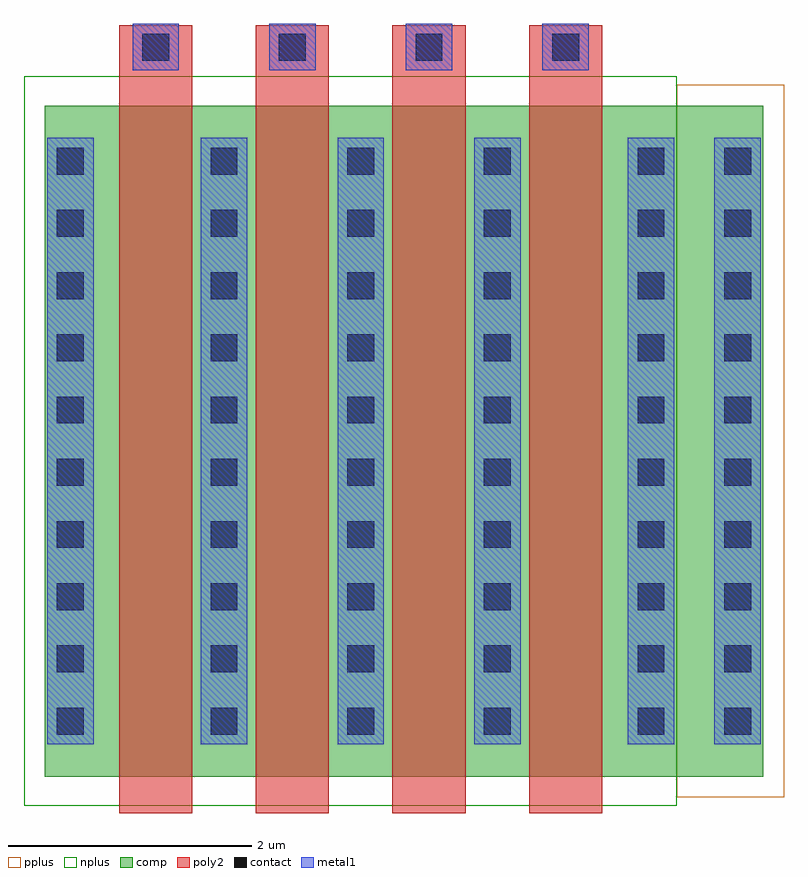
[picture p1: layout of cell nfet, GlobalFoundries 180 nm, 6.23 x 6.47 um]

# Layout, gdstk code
import gdstk
lib = gdstk.Library(unit=1e-6, precision=1e-09)
def R(c, l, rs):  # rectangles x0, y0, x1, y1
    for r in rs: c.add(gdstk.rectangle(r[:2], r[2:], *l))
def A(c, l, x, y, w, h, nx, ny, dx, dy):  # array of equal rectangles
    R(c, l, [(x+i*dx, y+j*dy, x+i*dx+w, y+j*dy+h) for i in range(nx) for j in range(ny)])
comp = (22, 0)
poly2 = (30, 0)
pplus = (31, 0)
nplus = (32, 0)
contact = (33, 0)
metal1 = (34, 0)

nfet = lib.new_cell('nfet')
R(nfet, comp, [(-0.42,0,0,5.5), (0,0,4.34,5.5), (4.34,0,4.76,5.5), (4.76,0,5.47,5.5)])
A(nfet, poly2, 0.19, -0.3, 0.6, 6.1, 4, 1, 1.12, 0)
A(nfet, poly2, 0.19, 5.8, 0.6, 0.36, 4, 1, 1.12, 0)
R(nfet, pplus, [(4.76,-0.17,5.64,5.67)])
R(nfet, nplus, [(-0.59,-0.24,4.76,5.74)])
A(nfet, contact, -0.32, 0.345, 0.22, 0.22, 1, 10, 0, 0.51)
A(nfet, contact, 0.94, 0.345, 0.22, 0.22, 3, 10, 1.12, 0.51)
A(nfet, contact, 4.44, 0.345, 0.22, 0.22, 1, 10, 0, 0.51)
A(nfet, contact, 5.15, 0.345, 0.22, 0.22, 1, 10, 0, 0.51)
A(nfet, contact, 0.38, 5.87, 0.22, 0.22, 4, 1, 1.12, 0)
A(nfet, metal1, 0.86, 0.265, 0.38, 4.97, 3, 1, 1.12, 0)
A(nfet, metal1, 0.3, 5.789, 0.38, 0.382, 4, 1, 1.12, 0)
R(nfet, metal1, [(-0.4,0.265,-0.02,5.235), (4.36,0.265,4.74,5.235), (5.07,0.265,5.45,5.235)])

lib.write_gds('nfet.gds')
